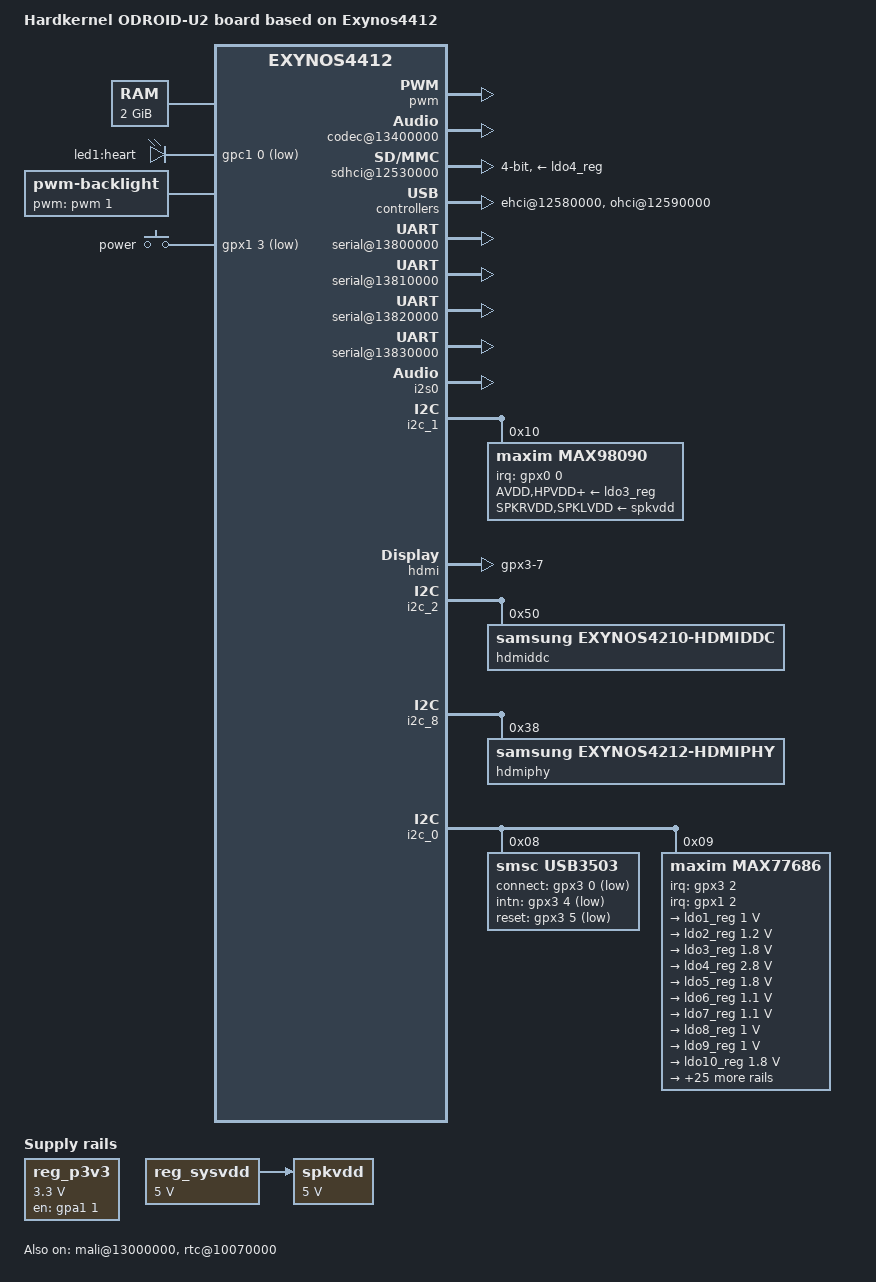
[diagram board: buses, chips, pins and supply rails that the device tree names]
/*
 * Hardkernel's Exynos4412 based ODROID-U2 board device tree source
 *
 * Copyright (c) 2013 Alban Browaeys <prahal@yahoo.com>
 *
 * Based on exynos4412-odroidx.dts
 * Copyright (c) 2012 Dongjin Kim <tobetter@gmail.com>
 *
 * Based on exynos4412-origen.dts
 * Copyright (c) 2012-2013 Samsung Electronics Co., Ltd.
 *		http://www.samsung.com
 *
 * Device tree source file for Hardkernel's ODROID-U2 board which is based on
 * Samsung's Exynos4412 SoC.
 *
 * This program is free software; you can redistribute it and/or modify
 * it under the terms of the GNU General Public License version 2 as
 * published by the Free Software Foundation.
*/

/dts-v1/;
#include "exynos4412.dtsi"

#include <dt-bindings/clk/exynos-audss-clk.h>
#include <dt-bindings/interrupt-controller/irq.h>
#include <dt-bindings/pwm/pwm.h>

/ {
	#address-cells = <1>;
	#size-cells = <1>;

	model = "Hardkernel ODROID-U2 board based on Exynos4412";
	compatible = "hardkernel,odroid-u2", "samsung,exynos4412";

	aliases {
		i2c8 = &i2c_8;
	};

	memory {
		reg = <0x40000000 0x80000000>;

		reserved-memory {
			#address-cells = <1>;
			#size-cells = <1>;

			/*
			 * global autoconfigured region for contiguous allocations
			 * (used only with Contiguous Memory Allocator)
			 */
			contig_region@0 {
				compatible = "linux,contiguous-memory-region";
				reg = <0x0 0x8000000>;
				linux,default-contiguous-region;
			};


                        /*
                         * special region for framebuffer
                         */
                        display_region: region@78000000 {
                                compatible = "linux,contiguous-memory-region", "reserved-memory-region";
                                reg = <0x78000000 0x800000>;
                        };

			mfc_l_mem: mfc_l_region@43000000 {
				compatible = "contiguous-memory-region", "reserved-memory-region";
				reg = <0x43000000 0x4000000>;
			};

			mfc_r_mem: mfc_r_region@51000000 {
				compatible = "contiguous-memory-region", "reserved-memory-region";
				reg = <0x51000000 0x4000000>;
			};
		};
	};

        fb0: fb@12300000 {
                status = "okay";
                memory-region = <&display_region>;
        };

	L2: l2-cache@10502000 {
		compatible = "arm,pl310-cache";
		reg = <0x10502000 0x1000>;
		arm,data-latency = <1 2 0>;
		arm,tag-latency = <1 1 0>;
		cache-unified;
		cache-level = <2>;
	};

	chosen {
                bootargs = "dynamic_debug.verbose=1 no_console_suspend console=ttySAC1,115200n8 console=tty0 earlyprintk smsc95xx.macaddr=\"F2:04:5F:B8:D6:6C\"  max77686_irq.debug_mask=7 dyndbg=\"module dw_mmc +p;module pwm_samsung +p;module pwm_bl +p;module backlight +p;file gpiolib-of.c +p;module domain_governor +p;module domain +p;module max77686 +p;module clk +p;module snd_soc_i2s +p;\"";       };

	firmware@0203F000 {
		compatible = "samsung,secure-firmware";
		reg = <0x0203F000 0x1000>;
	};

	pwm: pwm@139D0000 {
		#pwm-cells = <3>;
		status = "okay";
		clocks = <&clock 336>;
		clock-names = "timers";
		samsung,pwm-outputs = <0>, <1>;
	};

	watchdog@10060000 {
		status = "okay";
	};

	mali@13000000 {
		compatible = "arm,mali400-mp4";
		#address-cells = <1>;
		#size-cells = <1>;

		shared-memory-size = <0x10000000>;

		/* mali dvfs */
		utilization-interval = <1000>;

		samsung,power-domain = <&pd_g3d>;
		status = "okay";

		clocks = <&clock 1>, <&clock 7>, <&clock 11>, <&clock 393>, <&clock 17>, <&clock 392>, <&clock 172>;
		clock-names = "xxti", "fout_vpll", "sclk_vpll", "mout_g3d1",
				"mout_mpll_user_t", "mout_g3d0", "sclk_g3d";

		reg = <0x13001000 0x200>, <0x13000000 0x100>, <0x13003000 0x100>,
			<0x13008000 0x1100>, <0x13004000 0x100>, <0x1300A000 0x1100>,
			<0x13005000 0x100>, <0x1300C000 0x1100>, <0x13006000 0x100>,
			<0x1300E000 0x1100>, <0x13007000 0x100>;
		reg-names = "l2", "gp", "gp_mmu", "pp_0", "pp_mmu_0", "pp_1", "pp_mmu_1",
			"pp_2", "pp_mmu_2", "pp_3", "pp_mmu_3";

		interrupts = <0 127 0>, <0 122 0>, <0 123 0>, <0 118 0>, <0 124 0>,
			<0 119 0>, <0 125 0>, <0 120 0>, <0 126 0>, <0 121 0>;
		interrupt-names = "gp", "gp_mmu", "pp_0", "pp_mmu_0", "pp_1", "pp_mmu_1",
			"pp_2", "pp_mmu_2", "pp_3", "pp_mmu_3";

	};

	g2d@10800000 {
		status = "okay";
	};

	fixed-rate-clocks {
		xxti {
			compatible = "samsung,clock-xxti";
			clock-frequency = <0>;
		};

		xusbxti {
			compatible = "samsung,clock-xusbxti";
			clock-frequency = <24000000>;
		};

/*
		iiscdclk0: clock-iiscdclk0 {
			compatible = "fixed-clock";
			clock-output-names = "iiscdclk0";
			clock-frequency = <16934400>;
			#clock-cells = <0>;
		};
*/

	};

	leds {
		compatible = "gpio-leds";
		led1 {
			label = "led1:heart";
			gpios = <&gpc1 0 1>;
			default-state = "on";
			linux,default-trigger = "heartbeat";
		};
	};


	mshc@12550000 {
		pinctrl-0 = <&sd4_clk &sd4_cmd &sd4_bus4 &sd4_bus8 &sd4_nreset_out>;
		pinctrl-names = "default";
		vmmc-supply = <&ldo20_reg &ldo22_reg>;
		status = "okay";

		num-slots = <1>;
		supports-highspeed;
		broken-cd;
		keep-power-in-suspend;
		fifo-depth = <0x80>;
		card-detect-delay = <200>;
		samsung,dw-mshc-ciu-div = <3>;
		samsung,dw-mshc-sdr-timing = <1 1>;
		samsung,dw-mshc-ddr-timing = <2 1>;
		samsung,dw-mshc-hwreset-gpio = <&gpk1 2 1>;


		clocks = <&clock 301>, <&clock 149>;
		clock-names = "biu", "ciu";

		slot@0 {
			reg = <0>;
			bus-width = <8>;
		};
	};

/*
        fimd@11c00000 {
                pinctrl-0 = <&lcd_clk &lcd_data24 &pwm1_out>;
                pinctrl-names = "default";
                status = "okay";
		display-timings {
			native-mode = <&timing0>;
			timing0: timing0 {
				clock-frequency = <50000>;
				hactive = <1920>;
				vactive = <1080>;
				hsync-len = <44>;
				hfront-porch = <88>;
				hback-porch = <280>;
				vfront-porch = <4>;
				vback-porch = <41>;
				vsync-len = <5>;
			};
			timing1: timing1 {
				clock-frequency = <50000>;
				hactive = <1280>;
				vactive = <720>;
				hsync-len = <40>;
				hfront-porch = <110>;
				hback-porch = <370>;
				vfront-porch = <5>;
				vback-porch = <25>;
				vsync-len = <5>;
			};
		};
        };
*/

        backlight {
                compatible = "pwm-backlight";
                pwms = <&pwm 1 1000000 PWM_POLARITY_INVERTED>;
		pwm-names = "backlight";

                brightness-levels = <0 4 8 16 32 64 128 255>;
                default-brightness-level = <7>;

                pinctrl-0 = <&pwm1_out>;
                pinctrl-names = "default";
        };

	codec@13400000 {
		status = "okay";

		memport-r {
			dma-memory-region = <&mfc_r_mem>;
		};

		memport-l {
			dma-memory-region = <&mfc_l_mem>;
		};
	};


	regulators {
		compatible = "simple-bus";

		reg_p3v3: p3v3@0 {
			compatible = "regulator-fixed";
			regulator-name = "p3v3_en";
			regulator-min-microvolt = <3300000>;
			regulator-max-microvolt = <3300000>;
			gpio = <&gpa1 1 3>;
			enable-active-high;
			regulator-always-on;
			regulator-boot-on;
		};

		reg_sysvdd: p5v0@1 {
			compatible = "regulator-fixed";
			regulator-name = "p5v0";
			regulator-min-microvolt = <5000000>;
			regulator-max-microvolt = <5000000>;
			regulator-always-on;
			regulator-boot-on;

		};

		spkvdd:jack@2 {
			compatible = "regulator-fixed";
			regulator-name = "spkvdd-supply";
			regulator-min-microvolt = <5000000>;
			regulator-max-microvolt = <5000000>;
			regulator-always-on;
			vin-supply = <&reg_sysvdd>;
		};
	};

	gpio-keys {
		compatible = "gpio-keys";

		power-key {
			gpios = <&gpx1 3 1>;
			linux,code = <116>;
			label = "power";
			debounce-interval = <1>;
			gpio-key,wakeup;
		};
	};

	pinctrl@11000000 {
		eint26: ext-int26 {
			samsung,pins = "gpx3-2";
			samsung,pin-function = <0xf>;
			samsung,pin-pud = <0>;
			samsung,pin-drv = <0>;
		};

		power_button: power-button {
			samsung,pins = "gpx1-3";
			samsung,pin-function = <0xf>;
			samsung,pin-pud = <0>;
			samsung,pin-drv = <0>;
		};

		hdmi_hpd_irq: hdmi-hpd-irq {
			samsung,pins = "gpx3-7";
			samsung,pin-function = <0x3>;
			samsung,pin-pud = <0>;
			samsung,pin-drv = <0>;
		};
	};

        rtc@10070000 {
                compatible = "samsung,s3c6410-rtc";
                reg = <0x10070000 0x100>;
                interrupts = <0 44 0>, <0 45 0>;
                clocks = <&clock 346>;
                clock-names = "rtc";
                status = "okay";
        };

	tmu@100C0000 {
		compatible = "samsung,exynos4412-tmu";
		interrupt-parent = <&combiner>;
		reg = <0x100C0000 0xffff>;
		interrupts = <2 4>;
		clocks = <&clock 383>;
		clock-names = "tmu_apbif";
		vtmu-supply = <&ldo10_reg>;
	};

	sdhci@12530000 {
		bus-width = <4>;
		pinctrl-0 = <&sd2_clk &sd2_cmd &sd2_cd &sd2_bus4>;
		pinctrl-names = "default";
		vmmc-supply = <&ldo4_reg &ldo21_reg>;
		status = "okay";
	};

	ehci@12580000 {
		status = "okay";
	};

	ohci@12590000 {
		status = "okay";
	};

	serial@13800000 {
		status = "okay";
	};

	serial@13810000 {
		status = "okay";
	};

	serial@13820000 {
		status = "okay";
	};

	serial@13830000 {
		status = "okay";
	};

	clock_audss: audss-clock-controller@3810000 {
		compatible = "samsung,exynos4210-audss-clock";
		reg = <0x03810000 0x0C>;
		#clock-cells = <1>;
	};

	i2s0: i2s@03830000 {
		compatible = "samsung,s5pv210-i2s";
		reg = <0x03830000 0x100>;
		dmas = <&pdma0 12
			&pdma0 11
			&pdma0 10>;
		dma-names = "tx", "rx", "tx-sec";
		clocks = <&clock_audss EXYNOS_I2S_BUS>,
			<&clock_audss EXYNOS_I2S_BUS>,
			<&clock_audss EXYNOS_SCLK_I2S>;
		clock-names = "iis", "i2s_opclk0", "i2s_opclk1";
		samsung,idma-addr = <0x03000000>;
		pinctrl-names = "default";
		pinctrl-0 = <&i2s0_bus>;
	};

	i2c_1: i2c@13870000 {
		status = "okay";

		samsung,i2c-slave-addr = <16>;
		samsung,i2c-sda-delay = <100>;
		samsung,i2c-max-bus-freq = <20000>;


		max98090: max98090@10 {
			compatible = "maxim,max98090";
			reg = <0x10>;
			interrupt-parent = <&gpx0>;
			interrupts = <0 0>;

			pinctrl-names = "default";
			pinctrl-0 = <&eint0>;

			gpio-controller;
			#gpio-cells = <2>;

			AVDD-supply = <&ldo3_reg>;
			HPVDD-supply = <&ldo3_reg>;
			DVDDIO-supply = <&ldo3_reg>;
			DVDD-supply = <&ldo3_reg>;
			SPKRVDD-supply = <&spkvdd>;
			SPKLVDD-supply = <&spkvdd>;
		};
	};

	sound {
		compatible = "hardkernel,hkdk-max98090";

		samsung,i2s-controller = <&i2s0>;
		samsung,audio-codec = <&max98090>;
		clocks = <&clock_audss EXYNOS_I2S_BUS>,
			<&clock_audss EXYNOS_I2S_BUS>,
			<&clock_audss EXYNOS_SCLK_I2S>,
			<&clock_audss EXYNOS_MOUT_AUDSS>;
		clock-names = "iis", "i2s_opclk0", "i2s_opclk1", "mout_audss";
	};


	mixer {
		compatible = "samsung,exynos4-mixer";

		reg = <0x12C10000 0x10000>, <0x12C00000 0x10000>;
		reg-names = "mxr", "vp";

		interrupts = <0 91 0>;
		clocks = <&clock 269>, <&clock 136>,
			<&clock 268>, <&clock 137>, <&clock 138>;
		clock-names = "mixer", "sclk_hdmi",
			"vp", "sclk_mixer", "sclk_dac";
		samsung,power-domain = <&pd_tv>;
	};

        hdmi {
                compatible = "samsung,exynos4212-hdmi";
                reg = <0x12D00000 0x100000>;
                interrupts = <0 92 0>;
                hpd-gpio = <&gpx3 7 0>;

		clocks = <&clock 271>, <&clock 136>, <&clock 139>,
			<&clock 178>, <&clock 396>;
		clock-names = "hdmi", "sclk_hdmi", "sclk_pixel",
			"sclk_hdmiphy", "mout_hdmi";

		pinctrl-names = "default";
		pinctrl-0 = <&hdmi_hpd_irq>;

		samsung,power-domain = <&pd_tv>;

		vdd_osc-supply = <&ldo10_reg>;
		vdd_pll-supply = <&ldo8_reg>;
		vdd-supply = <&ldo8_reg>;
		hdmi-en-supply = <&reg_sysvdd>;

		#address-cells = <1>;
		#size-cells = <1>;

		phy-power-control {
			reg = <0x10020700 0x04>;
		};

		hdmiphy-confs {
			nr-confs = <5>;
			conf0: conf0 {
				clock-frequency = <27000000>;
				conf =  /bits/ 8 <
					0x01 0x51 0x2d 0x75 0x40 0x01 0x00 0x08
					0x82 0xa0 0x0e 0xd9 0x45 0xa0 0xac 0x80
					0x08 0x80 0x11 0x04 0x02 0x22 0x44 0x86
					0x54 0xe3 0x24 0x00 0x00 0x00 0x01 0x00
				>;
			};
			conf1: conf1 {
				clock-frequency = <27027000>;
				conf =  /bits/ 8 <
					0x01 0xd1 0x2d 0x72 0x40 0x64 0x12 0x08
					0x43 0xa0 0x0e 0xd9 0x45 0xa0 0xac 0x80
					0x08 0x80 0x11 0x04 0x02 0x22 0x44 0x86
					0x54 0xe3 0x24 0x00 0x00 0x00 0x01 0x00
				>;
			};
			conf2: conf2 {
				clock-frequency = <74176000>;
				conf =  /bits/ 8 <
					0x01 0xd1 0x1f 0x10 0x40 0x5b 0xef 0x08
					0x81 0xa0 0xb9 0xd8 0x45 0xa0 0xac 0x80
					0x5a 0x80 0x11 0x04 0x02 0x22 0x44 0x86
					0x54 0xa6 0x24 0x01 0x00 0x00 0x01 0x00
				>;
			};
			conf3: conf3 {
				clock-frequency = <74250000>;
				conf =  /bits/ 8 <
					0x01 0xd1 0x1f 0x10 0x40 0x40 0xf8 0x08
					0x81 0xa0 0xba 0xd8 0x45 0xa0 0xac 0x80
					0x3c 0x80 0x11 0x04 0x02 0x22 0x44 0x86
					0x54 0xa5 0x24 0x01 0x00 0x00 0x01 0x00
				>;
			};
			conf4: conf4 {
				clock-frequency = <148500000>;
				conf =  /bits/ 8 <
					0x01 0xd1 0x1f 0x00 0x40 0x40 0xf8 0x08
					0x81 0xa0 0xba 0xd8 0x45 0xa0 0xac 0x80
					0x3c 0x80 0x11 0x04 0x02 0x22 0x44 0x86
					0x54 0x4b 0x25 0x03 0x00 0x00 0x01 0x00
				>;
			};
		};
        };

        i2c_2: i2c@13880000 {
                samsung,i2c-sda-delay = <100>;
                samsung,i2c-max-bus-freq = <66000>;
		status = "okay";
		pinctrl-0 = <&i2c2_bus>;
		pinctrl-names = "default";

                hdmiddc@50 {
                        compatible = "samsung,exynos4210-hdmiddc";
                        reg = <0x50>;
                };
        };


	i2c_8: i2c@138E0000 {
		compatible = "samsung,s3c2440-hdmiphy-i2c";
		reg = <0x138E0000 0x1000>;

		interrupts = <0 93 0>;

		#address-cells = <1>;
		#size-cells = <0>;
		status = "okay";

		clocks = <&clock 325>;
		clock-names = "i2c";

		samsung,i2c-slave-addr = <16>;
		samsung,i2c-sda-delay = <100>;
		samsung,i2c-max-bus-freq = <100000>;

		hdmiphy@38 {
			compatible = "samsung,exynos4212-hdmiphy";
			reg = <0x38>;
		};

	};

	i2c_0: i2c@13860000 {
		pinctrl-0 = <&i2c0_bus>;
		pinctrl-names = "default";
		status = "okay";

		usb3503@08 {
			compatible = "smsc,usb3503";
			reg = <0x08>;
			disabled-ports = <2>;
			connect-gpios = <&gpx3 0 1>;
			intn-gpios = <&gpx3 4 1>;
			reset-gpios = <&gpx3 5 1>;
			initial-mode = <1>;
		};

		max77686: pmic@09 {
			compatible = "maxim,max77686";
                        interrupts-extended = <&gpx3 2 1>, <&gpx1 2 1>;
			reg = <0x09>;
			pinctrl-0 = <&eint26>;
			pinctrl-names = "default";

			voltage-regulators {
				ldo1_reg: LDO1 {
					regulator-compatible = "LDO1";
					regulator-name = "VDD_ALIVE_1.0V";
					regulator-min-microvolt = <1000000>;
					regulator-max-microvolt = <1000000>;
					regulator-always-on;
					LDO1-supply = <&buck6_reg>;
				};

				ldo2_reg: LDO2 {
					regulator-compatible = "LDO2";
					regulator-name = "VDDQ_M1_2_1.8V";
					regulator-min-microvolt = <1200000>;
					regulator-max-microvolt = <1200000>;
					regulator-always-on;
				};

				ldo3_reg: LDO3 {
					regulator-compatible = "LDO3";
					regulator-name = "VDDQ_EXT_1.8V";
					regulator-min-microvolt = <1800000>;
					regulator-max-microvolt = <1800000>;
					regulator-always-on;
					LDO3-supply = <&buck7_reg>;
				};

				ldo4_reg: LDO4 {
					regulator-compatible = "LDO4";
					regulator-name = "VDDQ_MMC2_2.8V";
					regulator-min-microvolt = <2800000>;
					regulator-max-microvolt = <2800000>;
					regulator-always-on;
					LDO4-supply = <&reg_sysvdd>;
				};

				ldo5_reg: LDO5 {
					regulator-compatible = "LDO5";
					regulator-name = "VDDQ_MMC1_3_1.8V";
					regulator-min-microvolt = <1800000>;
					regulator-max-microvolt = <1800000>;
					regulator-always-on;
					LDO5-supply = <&buck7_reg>;
				};

				ldo6_reg: LDO6 {
					regulator-compatible = "LDO6";
					regulator-name = "VDD10_MPLL_1.0V";
					regulator-min-microvolt = <1100000>;
					regulator-max-microvolt = <1100000>;
					regulator-always-on;
					LDO6-supply = <&buck6_reg>;
				};

				ldo7_reg: LDO7 {
					regulator-compatible = "LDO7";
					regulator-name = "VDD10_EPLL_1.0V";
					regulator-min-microvolt = <1100000>;
					regulator-max-microvolt = <1100000>;
					regulator-always-on;
					LDO7-supply = <&buck6_reg>;
				};

				ldo8_reg: LDO8 {
					regulator-compatible = "LDO8";
					regulator-name = "VDD10_MIPI_1.0V";
					regulator-min-microvolt = <1000000>;
					regulator-max-microvolt = <1000000>;
					regulator-always-on;
					LDO8-supply = <&buck6_reg>;
				};

				ldo9_reg: LDO9 {
					regulator-compatible = "LDO9";
					regulator-name = "VT_CORE_1.0V";
					regulator-min-microvolt = <1000000>;
					regulator-max-microvolt = <1000000>;
					LDO9-supply = <&buck7_reg>;
				};

				ldo10_reg: LDO10 {
					regulator-compatible = "LDO10";
					regulator-name = "VDD18_MIPI_1.8V";
					regulator-min-microvolt = <1800000>;
					regulator-max-microvolt = <1800000>;
					regulator-boot-on;
					LDO10-supply = <&buck7_reg>;
				};

				ldo11_reg: LDO11 {
					regulator-compatible = "LDO11";
					regulator-name = "VDD18_ABB1_1.8V";
					regulator-min-microvolt = <1800000>;
					regulator-max-microvolt = <1800000>;
					regulator-always-on;
					LDO11-supply = <&buck7_reg>;
				};

				ldo12_reg: LDO12 {
					regulator-compatible = "LDO12";
					regulator-name = "VDD33_USB_3.3V";
					regulator-min-microvolt = <3000000>;
					regulator-max-microvolt = <3000000>;
					regulator-always-on;
					regulator-boot-on;
					LDO12-supply = <&reg_sysvdd>;
				};

				ldo13_reg: LDO13 {
					regulator-compatible = "LDO13";
					regulator-name = "VDDQ_C2C_W_1.8V";
					regulator-min-microvolt = <1800000>;
					regulator-max-microvolt = <1800000>;
					regulator-always-on;
					LDO13-supply = <&buck7_reg>;
				};

				ldo14_reg: LDO14 {
					regulator-compatible = "LDO14";
					regulator-name = "VDD18_ABB0_2_1.8V";
					regulator-min-microvolt = <1800000>;
					regulator-max-microvolt = <1800000>;
					regulator-always-on;
					LDO14-supply = <&buck7_reg>;
				};

				ldo15_reg: LDO15 {
					regulator-compatible = "LDO15";
					regulator-name = "VDD10_HSIC_1.0V";
					regulator-min-microvolt = <1000000>;
					regulator-max-microvolt = <1000000>;
					regulator-always-on;
					regulator-boot-on;
					LDO15-supply = <&buck6_reg>;
				};

				ldo16_reg: LDO16 {
					regulator-compatible = "LDO16";
					regulator-name = "VDD18_HSIC_1.8V";
					regulator-min-microvolt = <1800000>;
					regulator-max-microvolt = <1800000>;
					regulator-always-on;
					LDO16-supply = <&buck7_reg>;
				};

				ldo17_reg: LDO17 {
					regulator-compatible = "LDO17";
					regulator-name = "VDDQ_CAM_1.2V";
					regulator-min-microvolt = <1200000>;
					regulator-max-microvolt = <1200000>;
					regulator-always-on;
					LDO17-supply = <&buck7_reg>;
				};

				ldo18_reg: LDO18 {
					regulator-compatible = "LDO18";
					regulator-name = "VDDQ_ISP_1.8V";
					regulator-min-microvolt = <1800000>;
					regulator-max-microvolt = <1800000>;
					LDO18-supply = <&buck7_reg>;
				};

				ldo19_reg: LDO19 {
					regulator-compatible = "LDO19";
					regulator-name = "VT_CAM_1.8V";
					regulator-min-microvolt = <1800000>;
					regulator-max-microvolt = <1800000>;
					LDO19-supply = <&buck7_reg>;
				};

				ldo20_reg: LDO20 {
					regulator-compatible = "LDO20";
					regulator-name = "LDO20_1.8V";
					regulator-min-microvolt = <1800000>;
					regulator-max-microvolt = <1800000>;
					regulator-boot-on;
					LDO20-supply = <&buck7_reg>;
				};

				ldo21_reg: LDO21 {
					regulator-compatible = "LDO21";
					regulator-name = "LDO21_3.3V";
					regulator-min-microvolt = <2800000>;
					regulator-max-microvolt = <2800000>;
					regulator-always-on;
					LDO21-supply = <&reg_sysvdd>;
				};

				ldo22_reg: LDO22 {
					regulator-compatible = "LDO22";
					regulator-name = "LDO22_2.8V";
					regulator-min-microvolt = <2800000>;
					regulator-max-microvolt = <2800000>;
					regulator-always-on;
					LDO22-supply = <&reg_sysvdd>;
				};

				ldo23_reg: LDO23 {
					regulator-compatible = "LDO23";
					regulator-name = "VDD_TOUCH_2.8V";
					regulator-min-microvolt = <2800000>;
					regulator-max-microvolt = <2800000>;
					LDO23-supply = <&reg_sysvdd>;
				};

				ldo24_reg: LDO24 {
					regulator-compatible = "LDO24";
					regulator-name = "VDD_TOUCHLED_3.3V";
					regulator-min-microvolt = <3300000>;
					regulator-max-microvolt = <3300000>;
					LDO24-supply = <&reg_sysvdd>;
				};

				ldo25_reg: LDO25 {
					regulator-compatible = "LDO25";
					regulator-name = "VDDQ_LCD_1.8V";
					regulator-min-microvolt = <3000000>;
					regulator-max-microvolt = <3000000>;
					regulator-always-on;
					LDO25-supply = <&reg_sysvdd>;
				};

				ldo26_reg: LDO26 {
					regulator-compatible = "LDO26";
					regulator-name = "VDD_MOTOR_3.0V";
					regulator-min-microvolt = <3000000>;
					regulator-max-microvolt = <3000000>;
				};

				buck1_reg: BUCK1 {
					regulator-compatible = "BUCK1";
					regulator-name = "vdd_mif";
					regulator-min-microvolt = <1000000>;
					regulator-max-microvolt = <1000000>;
					regulator-always-on;
					regulator-boot-on;
					BUCK1-supply = <&reg_sysvdd>;
				};

				buck2_reg: BUCK2 {
					regulator-compatible = "BUCK2";
					regulator-name = "vdd_arm";
					regulator-min-microvolt = <800000>;
					regulator-max-microvolt = <1500000>;
					regulator-always-on;
					regulator-boot-on;
					BUCK2-supply = <&reg_sysvdd>;
				};

				buck3_reg: BUCK3 {
					regulator-compatible = "BUCK3";
					regulator-name = "vdd_int";
					regulator-min-microvolt = <1125000>;
					regulator-max-microvolt = <1125000>;
					regulator-always-on;
					regulator-boot-on;
					BUCK3-supply = <&reg_sysvdd>;
				};

				buck4_reg: BUCK4 {
					regulator-compatible = "BUCK4";
					regulator-name = "vdd_g3d";
					regulator-min-microvolt = <850000>;
					regulator-max-microvolt = <1200000>;
					regulator-boot-on;
					BUCK4-supply = <&reg_sysvdd>;
				};

				buck5_reg: BUCK5 {
					regulator-compatible = "BUCK5";
					regulator-name = "VDDQ_CKEM1_2_1.2V";
					regulator-min-microvolt = <1200000>;
					regulator-max-microvolt = <1200000>;
					regulator-always-on;
					BUCK5-supply = <&reg_sysvdd>;
				};

				buck6_reg: BUCK6 {
					regulator-compatible = "BUCK6";
					regulator-name = "BUCK6_1.35V";
					regulator-min-microvolt = <1350000>;
					regulator-max-microvolt = <1350000>;
					regulator-always-on;
					BUCK6-supply = <&reg_sysvdd>;
				};

				buck7_reg: BUCK7 {
					regulator-compatible = "BUCK7";
					regulator-name = "BUCK7_2.0V";
					regulator-min-microvolt = <2000000>;
					regulator-max-microvolt = <2000000>;
					regulator-always-on;
					BUCK7-supply = <&reg_sysvdd>;
				};

				buck8_reg: BUCK8 {
					regulator-compatible = "BUCK8";
					regulator-name = "BUCK8_2.8V";
					regulator-min-microvolt = <2800000>;
					regulator-max-microvolt = <2800000>;
					regulator-always-on;
					regulator-boot-on;
					BUCK8-supply = <&reg_sysvdd &reg_p3v3>;
				};

				buck9_reg: BUCK9 {
					regulator-compatible = "BUCK9";
					regulator-name = "BUCK9_1.2V";
					regulator-min-microvolt = <1200000>;
					regulator-max-microvolt = <1200000>;
					BUCK9-supply = <&reg_sysvdd>;
				};
			};
		};
	};
};
